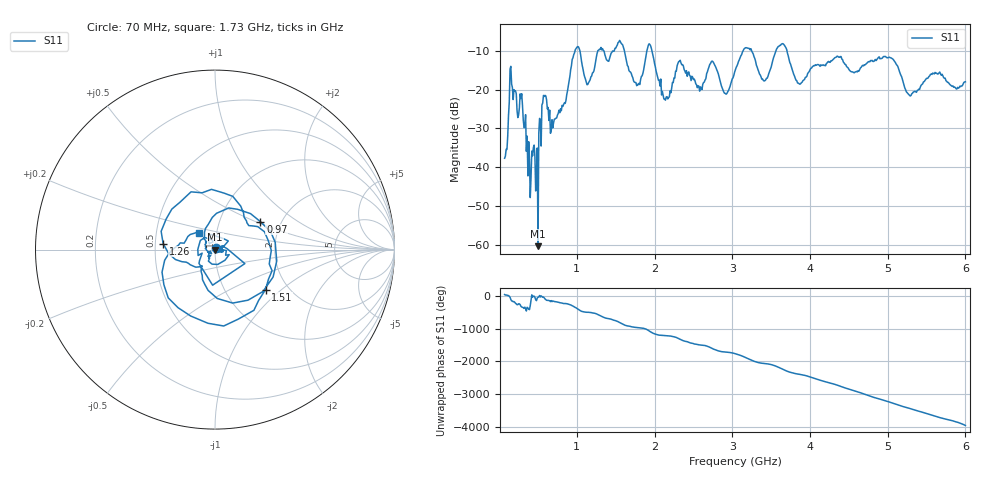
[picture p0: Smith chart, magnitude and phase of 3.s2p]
! S21 sweep bladeRF  2018-07-04T04:13:46
! Window=bharris  Blocks=64  Samples=2048  Method=median
! TX LUT = thru_txlut.csv
# Hz S DB R 50
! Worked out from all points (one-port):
!   594 points, 70 MHz to 6 GHz, reference 50 ohm
!   lowest |S11| = -60.4 dB at 500 MHz (marker M1), VSWR 1.00, Z = 50.1 - j0.0433 ohm
!   |S11| at or under -10 dB: start of sweep to 976.8 MHz; 1.966 GHz to 3.14 GHz (1.175 GHz wide, 46 % of centre); 3.703 GHz to end of sweep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
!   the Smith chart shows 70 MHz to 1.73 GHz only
!   S11 on the Smith chart (normalised r, x): 70 MHz: 1.01, +0.02; 970 MHz: 1.57, +0.53; 1.26 GHz: 0.55, +0.04; 1.51 GHz: 1.54, -0.79; 1.73 GHz: 0.82, +0.15
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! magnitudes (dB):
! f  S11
! 70 MHz  -37.7
! 160 MHz  -18.6
! 290 MHz  -21.1
! 390 MHz  -38.1
! 500 MHz  -60.4
! 570 MHz  -21.5
! 680 MHz  -27.8
! 820 MHz  -24.4
! 970 MHz  -10.5
! 1.14 GHz  -18.7
! 1.26 GHz  -10.7
! 1.51 GHz  -8.9
! 1.56 GHz  -7.7
! 1.73 GHz  -17.8
! 1.94 GHz  -8.4
! 2.15 GHz  -21.9
! 2.3 GHz  -13.3
! 2.75 GHz  -12.8
! 2.91 GHz  -21.0
! 3.04 GHz  -14.9
! 3.2 GHz  -9.4
! 3.42 GHz  -17.7
! 3.65 GHz  -8.2
! 3.78 GHz  -15.5
! 4.52 GHz  -15.3
! 5.04 GHz  -11.8
! 5.26 GHz  -21.1
! 6 GHz  -18.0
